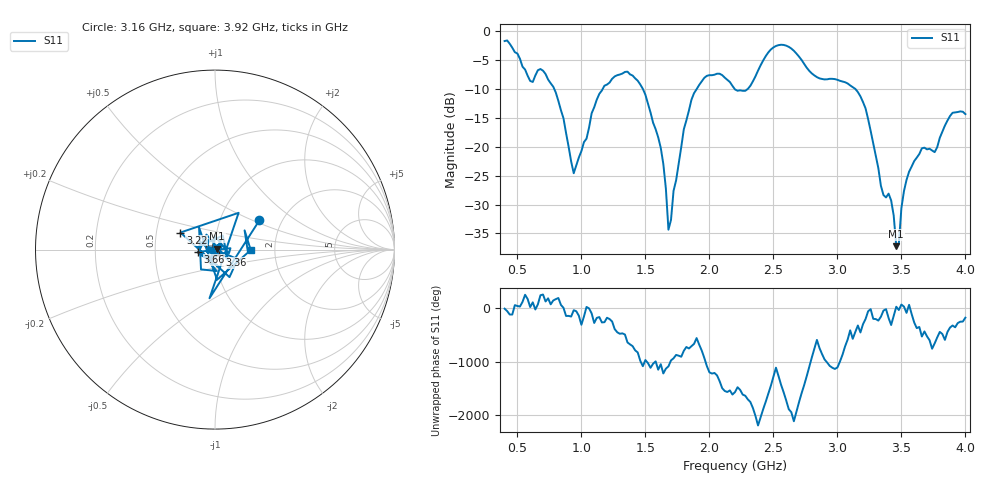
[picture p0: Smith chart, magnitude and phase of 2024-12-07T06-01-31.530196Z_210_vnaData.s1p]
!Created with skrf (http://scikit-rf.org).
# Hz S RI R 50.0
!freq ReS11 ImS11
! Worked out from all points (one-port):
!   181 points, 400 MHz to 4 GHz, reference 50 ohm
!   lowest |S11| = -37.2 dB at 3.46 GHz (marker M1), VSWR 1.03, Z = 51.3 + j0.541 ohm
!   |S11| at or under -10 dB: 787.7 MHz to 1.166 GHz (378.6 MHz wide, 38.8 % of centre); 1.48 GHz to 1.901 GHz (420.9 MHz wide, 24.9 % of centre); 3.14 GHz to end of sweep (the widest 3 of 4)
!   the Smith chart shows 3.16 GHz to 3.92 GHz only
!   S11 on the Smith chart (normalised r, x): 3.16 GHz: 1.54, +0.55; 3.22 GHz: 0.67, +0.13; 3.36 GHz: 1.05, -0.06; 3.66 GHz: 0.82, -0.02; 3.92 GHz: 1.49, +0.00
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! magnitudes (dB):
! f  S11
! 400 MHz  -1.7
! 600 MHz  -8.6
! 720 MHz  -7.4
! 860 MHz  -15.1
! 940 MHz  -24.6
! 1.14 GHz  -10.8
! 1.3 GHz  -7.5
! 1.5 GHz  -11.0
! 1.62 GHz  -20.2
! 1.66 GHz  -27.3
! 1.68 GHz  -34.4
! 1.76 GHz  -22.9
! 1.86 GHz  -11.9
! 1.96 GHz  -8.1
! 2.2 GHz  -10.1
! 2.5 GHz  -2.8
! 2.66 GHz  -3.4
! 3.1 GHz  -9.4
! 3.16 GHz  -10.5
! 3.22 GHz  -13.4
! 3.36 GHz  -28.4
! 3.42 GHz  -29.3
! 3.46 GHz  -37.2
! 3.56 GHz  -24.3
! 3.66 GHz  -20.3
! 3.76 GHz  -20.9
! 3.92 GHz  -14.1
! 4 GHz  -14.4
